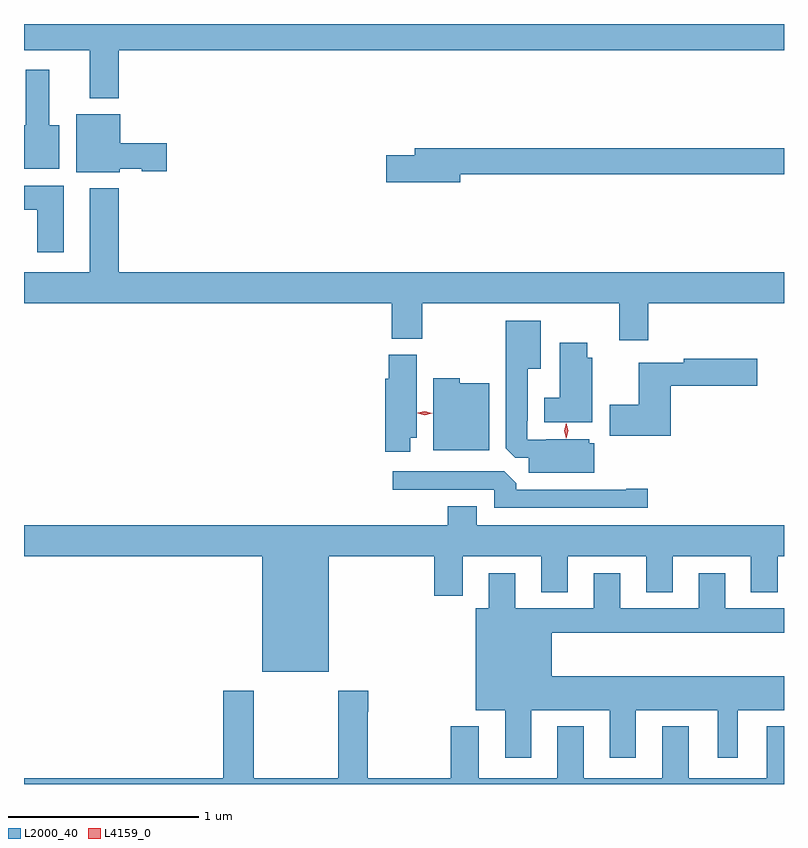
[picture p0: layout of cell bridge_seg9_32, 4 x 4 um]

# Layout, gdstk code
import gdstk
lib = gdstk.Library(unit=1e-6, precision=1e-09)
def P(c, l, *ps):  # polygons
    for p in ps: c.add(gdstk.Polygon(p, *l))
L2000_40 = (2000, 40)
L4159_0 = (4159, 0)

bridge_seg9_32 = lib.new_cell('bridge_seg9_32')
P(bridge_seg9_32, L2000_40, [(985.55,1200.416),(989.051,1200.416),(989.051,1200.554),(985.051,1200.554),(985.051,1200.416),(985.397,1200.416),(985.397,1200.164),(985.55,1200.164)],
  [(985.237,1200.022),(985.183,1200.022),(985.183,1200.313),(985.061,1200.313),(985.061,1200.022),(985.051,1200.022),(985.051,1199.792),(985.237,1199.792)],
  [(985.554,1199.792),(985.671,1199.792),(985.671,1199.78),(985.801,1199.78),(985.801,1199.927),(985.558,1199.927),(985.558,1200.079),(985.325,1200.079),(985.325,1199.774),(985.554,1199.774)],
  [(987.346,1199.764),(989.051,1199.764),(989.051,1199.9),(987.107,1199.9),(987.107,1199.864),(986.958,1199.864),(986.958,1199.722),(987.346,1199.722)],
  [(985.261,1199.704),(985.051,1199.704),(985.051,1199.576),(985.121,1199.576),(985.121,1199.352),(985.261,1199.352)],
  [(988.337,1199.084),(989.051,1199.084),(989.051,1199.248),(985.55,1199.248),(985.55,1199.689),(985.397,1199.689),(985.397,1199.248),(985.051,1199.248),(985.051,1199.084),(986.987,1199.084),(986.987,1198.897),(987.147,1198.897),(987.147,1199.084),(988.184,1199.084),(988.184,1198.89),(988.337,1198.89)],
  [(988.051,1198.347),(988.026,1198.347),(988.026,1198.369),(987.799,1198.369),(987.799,1198.365),(987.699,1198.365),(987.699,1198.465),(987.703,1198.465),(987.703,1198.739),(987.772,1198.739),(987.772,1198.993),(987.587,1198.993),(987.587,1198.321),(987.636,1198.272),(987.707,1198.272),(987.707,1198.193),(988.051,1198.193)],
  [(988.042,1198.797),(988.015,1198.797),(988.015,1198.876),(987.872,1198.876),(987.872,1198.588),(987.788,1198.588),(987.788,1198.457),(988.042,1198.457)],
  [(987.085,1198.376),(987.118,1198.376),(987.118,1198.812),(986.972,1198.812),(986.972,1198.686),(986.951,1198.686),(986.951,1198.302),(987.085,1198.302)],
  [(988.454,1198.649),(988.909,1198.649),(988.909,1198.791),(988.524,1198.791),(988.524,1198.771),(988.286,1198.771),(988.286,1198.551),(988.134,1198.551),(988.134,1198.388),(988.454,1198.388)],
  [(987.499,1198.663),(987.345,1198.663),(987.345,1198.69),(987.206,1198.69),(987.206,1198.31),(987.499,1198.31)],
  [(988.333,1198.109),(988.22,1198.109),(988.22,1198.104),(987.641,1198.104),(987.641,1198.138),(987.579,1198.2),(986.991,1198.2),(986.991,1198.104),(987.525,1198.104),(987.525,1198.008),(988.333,1198.008)],
  [(986.656,1197.752),(987.209,1197.752),(987.209,1197.546),(987.361,1197.546),(987.361,1197.752),(987.773,1197.752),(987.773,1197.563),(987.913,1197.563),(987.913,1197.752),(988.325,1197.752),(988.325,1197.563),(988.465,1197.563),(988.465,1197.752),(988.877,1197.752),(988.877,1197.563),(989.017,1197.563),(989.017,1197.752),(989.051,1197.752),(989.051,1197.916),(987.433,1197.916),(987.433,1198.015),(987.281,1198.015),(987.281,1197.916),(985.051,1197.916),(985.051,1197.752),(986.306,1197.752),(986.306,1197.146),(986.656,1197.146)],
  [(987.721,1196.942),(988.133,1196.942),(988.133,1196.691),(988.27,1196.691),(988.27,1196.942),(988.703,1196.942),(988.703,1196.691),(988.807,1196.691),(988.807,1196.942),(989.051,1196.942),(989.051,1197.121),(987.829,1197.121),(987.829,1197.35),(989.051,1197.35),(989.051,1197.478),(988.741,1197.478),(988.741,1197.664),(988.601,1197.664),(988.601,1197.478),(988.189,1197.478),(988.189,1197.664),(988.049,1197.664),(988.049,1197.478),(987.637,1197.478),(987.637,1197.664),(987.497,1197.664),(987.497,1197.478),(987.428,1197.478),(987.428,1196.942),(987.584,1196.942),(987.584,1196.691),(987.721,1196.691)],
  [(989.051,1196.857),(988.961,1196.857),(988.961,1196.584),(988.549,1196.584),(988.549,1196.857),(988.409,1196.857),(988.409,1196.584),(987.997,1196.584),(987.997,1196.857),(987.857,1196.857),(987.857,1196.584),(987.445,1196.584),(987.445,1196.857),(987.298,1196.857),(987.298,1196.584),(986.859,1196.584),(986.859,1196.933),(986.864,1196.933),(986.864,1197.046),(986.704,1197.046),(986.704,1196.584),(986.259,1196.584),(986.259,1197.046),(986.099,1197.046),(986.099,1196.584),(985.051,1196.584),(985.051,1196.554),(989.051,1196.554)])
P(bridge_seg9_32, L4159_0, [(987.905,1198.373),(987.895,1198.413),(987.905,1198.454),(987.905,1198.454),(987.905,1198.454),(987.915,1198.413),(987.906,1198.373),(987.906,1198.373)],
  [(987.161,1198.496),(987.123,1198.506),(987.123,1198.506),(987.123,1198.507),(987.161,1198.516),(987.199,1198.506),(987.199,1198.506),(987.199,1198.506)])

lib.write_gds('bridge_seg9_32.gds')
